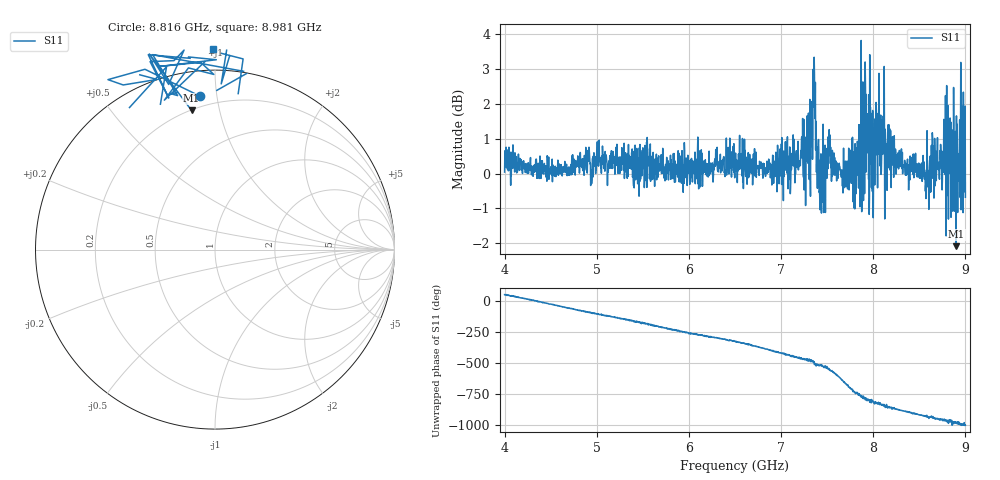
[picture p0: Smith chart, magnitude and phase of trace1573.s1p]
! Created with skrf 1.8.0 (http://scikit-rf.org).
# Hz S RI R 50.0
!freq ReS11 ImS11
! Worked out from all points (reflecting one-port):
!   1601 points, 4 GHz to 9 GHz, reference 50 ohm
!   lowest |S11| = -2.1 dB at 8.9 GHz (marker M1), VSWR 8.36, Z = 10.2 + j41.3 ohm
!   phase of S11 starts at 50 deg and turns -1049 deg over the sweep
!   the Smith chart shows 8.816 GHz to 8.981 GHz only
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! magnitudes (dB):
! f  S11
! 4 GHz  0.0
! 4.625 GHz  -0.1
! 5.25 GHz  0.0
! 5.875 GHz  0.2
! 6.5 GHz  0.2
! 7.125 GHz  0.5
! 7.294 GHz  0.3
! 7.319 GHz  -0.7
! 7.347 GHz  3.0
! 7.372 GHz  2.6
! 7.412 GHz  -0.5
! 7.438 GHz  -1.1
! 7.512 GHz  1.1
! 7.662 GHz  0.0
! 7.75 GHz  0.3
! 7.803 GHz  0.9
! 7.938 GHz  1.7
! 7.981 GHz  -0.4
! 8.047 GHz  -0.4
! 8.375 GHz  0.2
! 8.438 GHz  0.6
! 8.581 GHz  -0.4
! 8.788 GHz  -0.7
! 8.841 GHz  1.5
! 8.9 GHz  -2.1
! 8.956 GHz  0.0
! 8.972 GHz  0.6
! 9 GHz  -0.7
